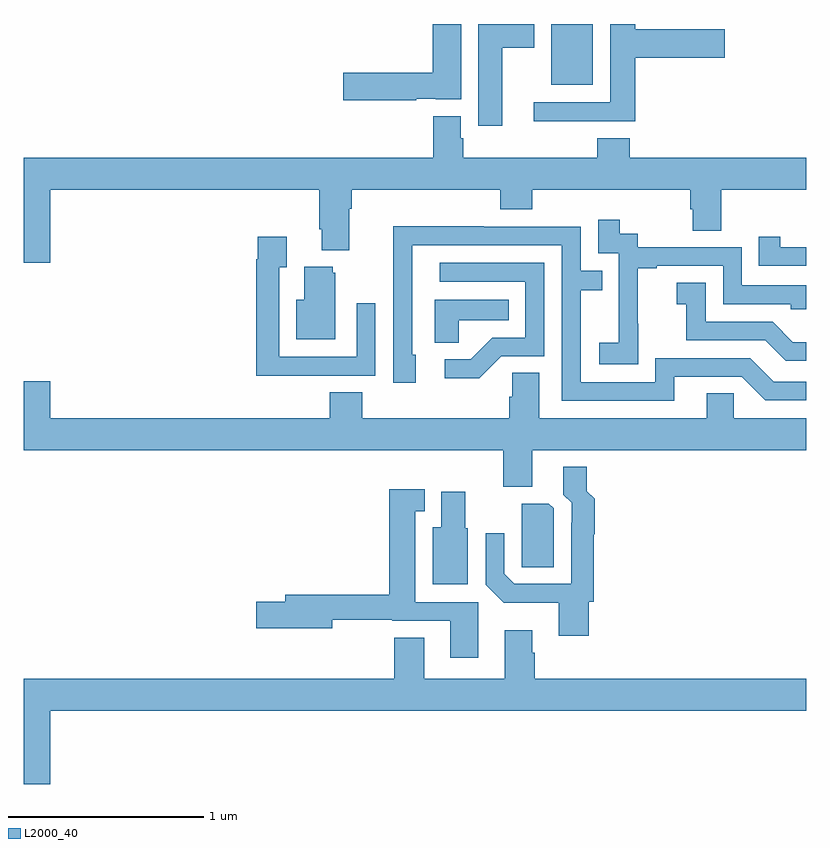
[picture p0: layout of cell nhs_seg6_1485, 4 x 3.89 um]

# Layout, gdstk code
import gdstk
lib = gdstk.Library(unit=1e-6, precision=1e-09)
def R(c, l, rs):  # rectangles x0, y0, x1, y1
    for r in rs: c.add(gdstk.rectangle(r[:2], r[2:], *l))
def P(c, l, *ps):  # polygons
    for p in ps: c.add(gdstk.Polygon(p, *l))
L2000_40 = (2000, 40)

nhs_seg6_1485 = lib.new_cell('nhs_seg6_1485')
R(nhs_seg6_1485, L2000_40, [(203.696,965.189,203.908,965.5)])
P(nhs_seg6_1485, L2000_40, [(203.006,965.117),(203.106,965.117),(203.106,965.114),(203.236,965.114),(203.236,965.5),(203.09,965.5),(203.09,965.252),(202.632,965.252),(202.632,965.11),(203.006,965.11)],
  [(204.125,965.327),(204.583,965.327),(204.583,965.474),(204.125,965.474),(204.125,965.5),(203.999,965.5),(203.999,965.1),(203.607,965.1),(203.607,965.003),(204.125,965.003)],
  [(203.446,965.378),(203.611,965.378),(203.611,965.5),(203.324,965.5),(203.324,964.98),(203.446,964.98)],
  [(201.136,964.652),(202.511,964.652),(202.511,964.45),(202.523,964.45),(202.523,964.343),(202.663,964.343),(202.663,964.556),(202.676,964.556),(202.676,964.652),(203.435,964.652),(203.435,964.553),(203.6,964.553),(203.6,964.652),(204.407,964.652),(204.407,964.554),(204.419,964.554),(204.419,964.444),(204.567,964.444),(204.567,964.652),(205,964.652),(205,964.816),(204.098,964.816),(204.098,964.915),(203.933,964.915),(203.933,964.816),(203.246,964.816),(203.246,964.917),(203.233,964.917),(203.233,965.029),(203.093,965.029),(203.093,964.816),(201,964.816),(201,964.278),(201.136,964.278)],
  [(204.141,963.967),(204.14,963.967),(204.14,964.251),(204.235,964.251),(204.235,964.263),(204.576,964.263),(204.576,964.068),(204.921,964.068),(204.921,964.041),(205,964.041),(205,964.164),(204.672,964.164),(204.672,964.359),(204.138,964.359),(204.138,964.428),(204.046,964.428),(204.046,964.498),(203.937,964.498),(203.937,964.329),(204.042,964.329),(204.042,964.1),(204.041,964.1),(204.041,963.871),(203.943,963.871),(203.943,963.761),(204.141,963.761)],
  [(204.325,963.696),(204.672,963.696),(204.792,963.576),(205,963.576),(205,963.672),(204.834,963.672),(204.714,963.792),(204.228,963.792),(204.228,963.669),(203.847,963.669),(203.847,964.138),(203.957,964.138),(203.957,964.239),(203.847,964.239),(203.847,964.464),(203.351,964.464),(203.351,964.466),(202.888,964.466),(202.888,964.159),(202.89,964.159),(202.89,963.666),(203.005,963.666),(203.005,963.81),(202.986,963.81),(202.986,964.368),(203.751,964.368),(203.751,963.573),(204.325,963.573)],
  [(202.481,963.702),(202.797,963.702),(202.797,964.072),(202.701,964.072),(202.701,963.798),(202.305,963.798),(202.305,964.255),(202.345,964.255),(202.345,964.411),(202.197,964.411),(202.197,964.298),(202.189,964.298),(202.189,963.701),(202.481,963.701)],
  [(205,964.359),(204.868,964.359),(204.868,964.411),(204.757,964.411),(204.757,964.263),(205,964.263)],
  [(203.442,963.801),(203.661,963.801),(203.661,964.278),(203.127,964.278),(203.127,964.182),(203.565,964.182),(203.565,963.897),(203.396,963.897),(203.285,963.786),(203.151,963.786),(203.151,963.689),(203.329,963.689)],
  [(202.591,964.227),(202.58,964.227),(202.58,964.258),(202.433,964.258),(202.433,964.09),(202.394,964.09),(202.394,963.887),(202.591,963.887)],
  [(205,963.874),(204.932,963.874),(204.828,963.978),(204.486,963.978),(204.486,964.177),(204.339,964.177),(204.339,964.067),(204.388,964.067),(204.388,963.882),(204.791,963.882),(204.896,963.777),(205,963.777)],
  [(203.223,963.986),(203.48,963.986),(203.48,964.09),(203.102,964.09),(203.102,963.871),(203.223,963.871)],
  [(203.599,963.32),(205,963.32),(205,963.484),(204.63,963.484),(204.63,963.611),(204.491,963.611),(204.491,963.484),(203.635,963.484),(203.635,963.716),(203.496,963.716),(203.496,963.593),(203.483,963.593),(203.483,963.484),(202.73,963.484),(202.73,963.617),(202.565,963.617),(202.565,963.484),(201.136,963.484),(201.136,963.673),(201,963.673),(201,963.32),(203.452,963.32),(203.452,963.133),(203.599,963.133)],
  [(203.888,962.547),(203.915,962.547),(203.915,962.89),(203.918,962.89),(203.918,963.072),(203.879,963.111),(203.879,963.235),(203.759,963.235),(203.759,963.094),(203.802,963.051),(203.802,962.951),(203.799,962.951),(203.799,962.637),(203.508,962.637),(203.457,962.688),(203.457,962.896),(203.361,962.896),(203.361,962.634),(203.455,962.54),(203.735,962.54),(203.735,962.373),(203.888,962.373)],
  [(203.323,962.544),(203.002,962.544),(203.002,963.008),(203.05,963.008),(203.05,963.121),(202.868,963.121),(202.868,962.582),(202.337,962.582),(202.337,962.546),(202.188,962.546),(202.188,962.411),(202.576,962.411),(202.576,962.454),(202.884,962.454),(202.884,962.448),(203.18,962.448),(203.18,962.259),(203.323,962.259)],
  [(203.269,962.922),(203.257,962.922),(203.257,963.109),(203.135,963.109),(203.135,962.926),(203.09,962.926),(203.09,962.636),(203.269,962.636)],
  [(203.709,963.024),(203.685,963.048),(203.546,963.048),(203.546,962.833),(203.547,962.833),(203.547,962.722),(203.709,962.722)],
  [(201.136,961.988),(205,961.988),(205,962.152),(203.612,962.152),(203.612,962.285),(203.599,962.285),(203.599,962.401),(203.459,962.401),(203.459,962.152),(203.047,962.152),(203.047,962.363),(202.895,962.363),(202.895,962.152),(201,962.152),(201,961.614),(201.136,961.614)])

lib.write_gds('nhs_seg6_1485.gds')
